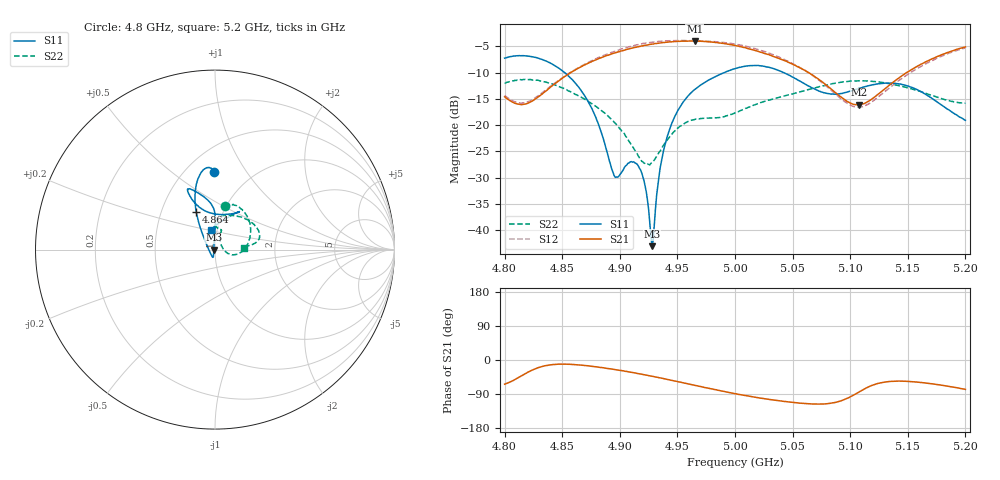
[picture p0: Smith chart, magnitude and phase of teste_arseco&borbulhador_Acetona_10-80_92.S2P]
! Network Analyzer HP8722D
! Hewlett-Packard
! Data name: Linha & Wilkinson
! Saver's name: Rodrigo Anjos
! Comments: Teste da utilização de aquisição
! continua pelo VNA HP8722D
! Time and date: 25/4/2025 16:02
!  Frequency  S11  S21  S12  S22
# HZ  S  MA R 50
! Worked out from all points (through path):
!   401 points, 4.8 GHz to 5.2 GHz, reference 50 ohm
!   highest |S21| = -3.98 dB at 4.965 GHz (marker M1); lowest = -16.1 dB at 5.108 GHz (marker M2)
!   lowest |S11| = -43.1 dB at 4.928 GHz (marker M3), VSWR 1.01, Z = 49.3 - j0.0788 ohm
!   |S11| at or under -10 dB: 4.852 GHz to 4.991 GHz (138.5 MHz wide, 2.82 % of centre); 5.042 GHz to end of sweep
!   |S22| runs from -27.6 to -11.3 dB; largest |S21 - S12| = 1.2
!   S11 on the Smith chart (normalised r, x): 4.8 GHz: 0.68, +0.72; 4.864 GHz: 0.75, +0.33; 5.2 GHz: 0.94, +0.21
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4.8e9  0.4342 90.8  0.186 -63.9  0.1911 69.5  0.2496 77.4
4.82e9  0.4538 97.1  0.1611 -32.4  0.1669 98.2  0.2718 61.7
4.864e9  0.2322 116.6  0.3488 -12.8  0.3523 121.0  0.1902 12.3
4.867e9  0.2091 118.2  0.3634 -13.6  0.367 120.7  0.1827 8.9
4.88e9  0.1119 128.5  0.4218 -18.3  0.432 118.2  0.1488 -5.0
4.896e9  0.0318 -165.6  0.4879 -25.3  0.5055 113.3  0.1044 -15.7
4.909e9  0.04453 -107.5  0.5356 -32.0  0.5602 107.7  0.06768 -14.3
4.917e9  0.03889 -103.3  0.5621 -36.3  0.5891 103.7  0.0489 -1.4
4.922e9  0.02627 -106.8  0.5765 -39.2  0.6023 100.8  0.04297 16.6
4.928e9  0.007021 -173.5  0.5914 -43.0  0.6173 97.2  0.04374 40.2
4.93e9  0.01138 123.3  0.5953 -44.1  0.6201 95.8  0.04656 47.5
4.934e9  0.03222 100.0  0.6036 -46.8  0.6285 93.3  0.05499 57.9
4.939e9  0.06325 92.9  0.6132 -49.7  0.6353 90.1  0.06682 65.4
4.946e9  0.1095 89.8  0.6237 -54.4  0.6381 85.7  0.08412 70.0
4.965e9  0.2182 91.0  0.6326 -66.9  0.6364 73.5  0.113 71.8
5e9  0.3451 109.1  0.5736 -89.0  0.5923 50.9  0.1307 88.3
5.031e9  0.351 115.1  0.4611 -104.6  0.4795 33.5  0.1748 84.7
5.067e9  0.2264 105.4  0.3015 -115.9  0.2987 23.6  0.2221 57.3
5.108e9  0.2238 63.4  0.1561 -83.7  0.1481 59.5  0.2643 23.7
5.134e9  0.2512 57.5  0.2402 -56.7  0.2261 88.6  0.2482 12.5
5.169e9  0.1857 69.9  0.4172 -62.0  0.4009 84.9  0.1949 6.8
5.2e9  0.1111 100.3  0.5555 -77.6  0.5459 70.3  0.1615 3.8
